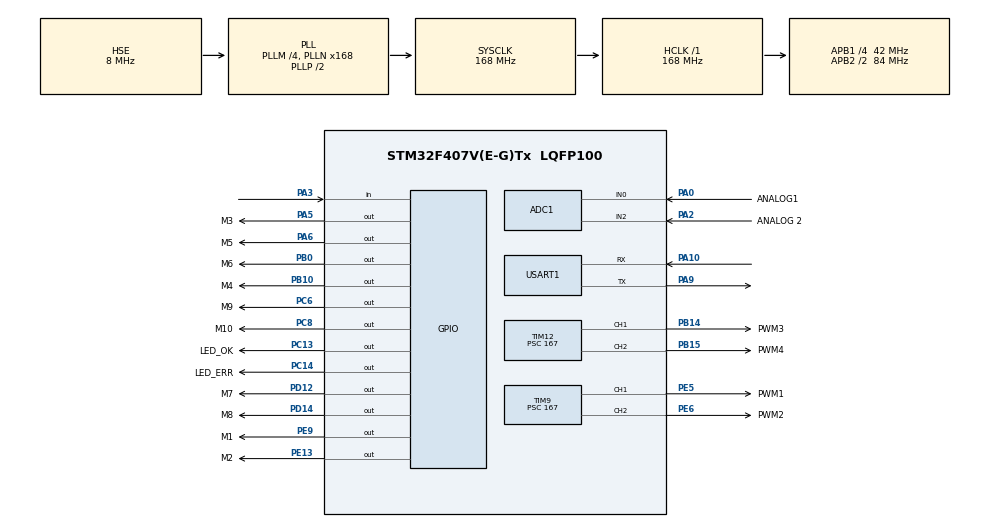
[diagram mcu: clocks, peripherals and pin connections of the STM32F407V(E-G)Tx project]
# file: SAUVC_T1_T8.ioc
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ADC1.Channel-0\#ChannelRegularConversion=ADC_CHANNEL_0
ADC1.Channel-1\#ChannelRegularConversion=ADC_CHANNEL_0
ADC1.DMAContinuousRequests=ENABLE
ADC1.InjNumberOfConversion=0
ADC1.NbrOfConversion=2
ADC1.NbrOfConversionFlag=1
ADC1.Rank-0\#ChannelRegularConversion=1
ADC1.Rank-1\#ChannelRegularConversion=2
ADC1.SamplingTime-0\#ChannelRegularConversion=ADC_SAMPLETIME_3CYCLES
ADC1.SamplingTime-1\#ChannelRegularConversion=ADC_SAMPLETIME_3CYCLES
ADC1.ScanConvMode=ENABLE
ADC1.master=1
Dma.ADC1.5.Direction=DMA_PERIPH_TO_MEMORY
Dma.ADC1.5.FIFOMode=DMA_FIFOMODE_DISABLE
Dma.ADC1.5.Instance=DMA2_Stream0
Dma.ADC1.5.MemDataAlignment=DMA_MDATAALIGN_HALFWORD
Dma.ADC1.5.MemInc=DMA_MINC_ENABLE
Dma.ADC1.5.Mode=DMA_NORMAL
Dma.ADC1.5.PeriphDataAlignment=DMA_PDATAALIGN_HALFWORD
Dma.ADC1.5.PeriphInc=DMA_PINC_DISABLE
Dma.ADC1.5.Priority=DMA_PRIORITY_MEDIUM
Dma.Request0=TIM1_UP
Dma.Request1=TIM1_CH4/TRIG/COM
Dma.Request2=TIM8_UP
Dma.Request3=TIM1_CH1
Dma.Request4=TIM1_CH3
Dma.Request5=ADC1
Dma.Request6=USART1_RX
Dma.Request7=USART1_TX
Dma.TIM1_CH1.3.Direction=DMA_PERIPH_TO_MEMORY
Dma.TIM1_CH1.3.FIFOMode=DMA_FIFOMODE_DISABLE
Dma.TIM1_CH1.3.Instance=DMA2_Stream3
Dma.TIM1_CH1.3.MemDataAlignment=DMA_MDATAALIGN_WORD
Dma.TIM1_CH1.3.MemInc=DMA_MINC_ENABLE
Dma.TIM1_CH1.3.Mode=DMA_NORMAL
Dma.TIM1_CH1.3.PeriphDataAlignment=DMA_PDATAALIGN_WORD
Dma.TIM1_CH1.3.PeriphInc=DMA_PINC_DISABLE
Dma.TIM1_CH1.3.Priority=DMA_PRIORITY_HIGH
Dma.TIM1_CH3.4.Direction=DMA_PERIPH_TO_MEMORY
Dma.TIM1_CH3.4.FIFOMode=DMA_FIFOMODE_DISABLE
Dma.TIM1_CH3.4.Instance=DMA2_Stream6
Dma.TIM1_CH3.4.MemDataAlignment=DMA_MDATAALIGN_WORD
Dma.TIM1_CH3.4.MemInc=DMA_MINC_ENABLE
Dma.TIM1_CH3.4.Mode=DMA_NORMAL
Dma.TIM1_CH3.4.PeriphDataAlignment=DMA_PDATAALIGN_WORD
Dma.TIM1_CH3.4.PeriphInc=DMA_PINC_DISABLE
Dma.TIM1_CH3.4.Priority=DMA_PRIORITY_HIGH
Dma.TIM1_CH4/TRIG/COM.1.Direction=DMA_PERIPH_TO_MEMORY
Dma.TIM1_CH4/TRIG/COM.1.FIFOMode=DMA_FIFOMODE_DISABLE
Dma.TIM1_CH4/TRIG/COM.1.Instance=DMA2_Stream4
Dma.TIM1_CH4/TRIG/COM.1.MemDataAlignment=DMA_MDATAALIGN_WORD
Dma.TIM1_CH4/TRIG/COM.1.MemInc=DMA_MINC_ENABLE
Dma.TIM1_CH4/TRIG/COM.1.Mode=DMA_NORMAL
Dma.TIM1_CH4/TRIG/COM.1.PeriphDataAlignment=DMA_PDATAALIGN_WORD
Dma.TIM1_CH4/TRIG/COM.1.PeriphInc=DMA_PINC_DISABLE
Dma.TIM1_CH4/TRIG/COM.1.Priority=DMA_PRIORITY_HIGH
Dma.TIM1_UP.0.Direction=DMA_PERIPH_TO_MEMORY
Dma.TIM1_UP.0.FIFOMode=DMA_FIFOMODE_DISABLE
Dma.TIM1_UP.0.Instance=DMA2_Stream5
Dma.TIM1_UP.0.MemDataAlignment=DMA_MDATAALIGN_WORD
Dma.TIM1_UP.0.MemInc=DMA_MINC_ENABLE
Dma.TIM1_UP.0.Mode=DMA_NORMAL
Dma.TIM1_UP.0.PeriphDataAlignment=DMA_PDATAALIGN_WORD
Dma.TIM1_UP.0.PeriphInc=DMA_PINC_DISABLE
Dma.TIM1_UP.0.Priority=DMA_PRIORITY_HIGH
Dma.TIM8_UP.2.Direction=DMA_PERIPH_TO_MEMORY
Dma.TIM8_UP.2.FIFOMode=DMA_FIFOMODE_DISABLE
Dma.TIM8_UP.2.Instance=DMA2_Stream1
Dma.TIM8_UP.2.MemDataAlignment=DMA_MDATAALIGN_WORD
Dma.TIM8_UP.2.MemInc=DMA_MINC_ENABLE
Dma.TIM8_UP.2.Mode=DMA_NORMAL
Dma.TIM8_UP.2.PeriphDataAlignment=DMA_PDATAALIGN_WORD
Dma.TIM8_UP.2.PeriphInc=DMA_PINC_DISABLE
Dma.TIM8_UP.2.Priority=DMA_PRIORITY_HIGH
Dma.USART1_RX.6.Direction=DMA_PERIPH_TO_MEMORY
Dma.USART1_RX.6.FIFOMode=DMA_FIFOMODE_DISABLE
Dma.USART1_RX.6.Instance=DMA2_Stream2
Dma.USART1_RX.6.MemDataAlignment=DMA_MDATAALIGN_BYTE
Dma.USART1_RX.6.MemInc=DMA_MINC_ENABLE
Dma.USART1_RX.6.Mode=DMA_CIRCULAR
Dma.USART1_RX.6.PeriphDataAlignment=DMA_PDATAALIGN_BYTE
Dma.USART1_RX.6.PeriphInc=DMA_PINC_DISABLE
Dma.USART1_RX.6.Priority=DMA_PRIORITY_LOW
Dma.USART1_TX.7.Direction=DMA_MEMORY_TO_PERIPH
Dma.USART1_TX.7.FIFOMode=DMA_FIFOMODE_DISABLE
Dma.USART1_TX.7.Instance=DMA2_Stream7
Dma.USART1_TX.7.MemDataAlignment=DMA_MDATAALIGN_BYTE
Dma.USART1_TX.7.MemInc=DMA_MINC_ENABLE
Dma.USART1_TX.7.Mode=DMA_NORMAL
Dma.USART1_TX.7.PeriphDataAlignment=DMA_PDATAALIGN_BYTE
Dma.USART1_TX.7.PeriphInc=DMA_PINC_DISABLE
Dma.USART1_TX.7.Priority=DMA_PRIORITY_LOW
Mcu.Family=STM32F4
Mcu.Name=STM32F407V(E-G)Tx
Mcu.Package=LQFP100
NVIC.ADC_IRQn=true\:0\:0\:false\:false\:true\:true\:true\:true
NVIC.DMA2_Stream0_IRQn=true\:0\:0\:false\:false\:true\:false\:true\:true
NVIC.DMA2_Stream1_IRQn=true\:0\:0\:false\:false\:true\:false\:true\:true
NVIC.DMA2_Stream2_IRQn=true\:0\:0\:false\:false\:true\:false\:true\:true
NVIC.DMA2_Stream3_IRQn=true\:0\:0\:false\:false\:true\:false\:true\:true
NVIC.DMA2_Stream4_IRQn=true\:0\:0\:false\:false\:true\:false\:true\:true
NVIC.DMA2_Stream5_IRQn=true\:0\:0\:false\:false\:true\:false\:true\:true
NVIC.DMA2_Stream6_IRQn=true\:0\:0\:false\:false\:true\:false\:true\:true
NVIC.DMA2_Stream7_IRQn=true\:0\:0\:false\:false\:true\:false\:true\:true
NVIC.PriorityGroup=NVIC_PRIORITYGROUP_4
NVIC.USART1_IRQn=true\:0\:0\:false\:false\:true\:true\:true\:true
PA0-WKUP.GPIO_Label=ANALOG1
PA0-WKUP.Signal=ADCx_IN0
PA10.Mode=Asynchronous
PA10.Signal=USART1_RX
PA13.Mode=Serial_Wire
PA13.Signal=SYS_JTMS-SWDIO
PA14.Mode=Serial_Wire
PA14.Signal=SYS_JTCK-SWCLK
PA2.GPIO_Label=ANALOG 2
PA2.Signal=ADCx_IN2
PA3.Signal=GPIO_Input
PA5.GPIO_Label=M3
PA5.GPIO_Speed=GPIO_SPEED_FREQ_VERY_HIGH
PA5.Signal=GPIO_Output
PA6.GPIO_Label=M5
PA6.GPIO_Speed=GPIO_SPEED_FREQ_VERY_HIGH
PA6.Signal=GPIO_Output
PA9.Mode=Asynchronous
PA9.Signal=USART1_TX
PB0.GPIO_Label=M6
PB0.GPIO_Speed=GPIO_SPEED_FREQ_VERY_HIGH
PB0.Signal=GPIO_Output
PB10.GPIO_Label=M4
PB10.GPIO_Speed=GPIO_SPEED_FREQ_VERY_HIGH
PB10.Signal=GPIO_Output
PB14.GPIO_Label=PWM3
PB14.Signal=S_TIM12_CH1
PB15.GPIO_Label=PWM4
PB15.Signal=S_TIM12_CH2
PC13-ANTI_TAMP.GPIO_Label=LED_OK
PC13-ANTI_TAMP.Signal=GPIO_Output
PC14-OSC32_IN.GPIO_Label=LED_ERR
PC14-OSC32_IN.Signal=GPIO_Output
PC6.GPIO_Label=M9
PC6.GPIO_Speed=GPIO_SPEED_FREQ_VERY_HIGH
PC6.Signal=GPIO_Output
PC8.GPIO_Label=M10
PC8.GPIO_Speed=GPIO_SPEED_FREQ_VERY_HIGH
PC8.Signal=GPIO_Output
PD12.GPIO_Label=M7
PD12.GPIO_Speed=GPIO_SPEED_FREQ_VERY_HIGH
PD12.Signal=GPIO_Output
PD14.GPIO_Label=M8
PD14.GPIO_Speed=GPIO_SPEED_FREQ_VERY_HIGH
PD14.Signal=GPIO_Output
PD5.Signal=USART2_TX
PD6.Signal=USART2_RX
PE13.GPIO_Label=M2
PE13.GPIO_Speed=GPIO_SPEED_FREQ_VERY_HIGH
PE13.Signal=GPIO_Output
PE5.GPIO_Label=PWM1
PE5.Signal=S_TIM9_CH1
PE6.GPIO_Label=PWM2
PE6.Signal=S_TIM9_CH2
PE9.GPIO_Label=M1
PE9.GPIO_Speed=GPIO_SPEED_FREQ_VERY_HIGH
PE9.Signal=GPIO_Output
PH0-OSC_IN.Mode=HSE-External-Oscillator
PH0-OSC_IN.Signal=RCC_OSC_IN
PH1-OSC_OUT.Mode=HSE-External-Oscillator
PH1-OSC_OUT.Signal=RCC_OSC_OUT
ProjectManager.HeapSize=0x200
ProjectManager.StackSize=0x400
ProjectManager.TargetToolchain=STM32CubeIDE
RCC.48MHZClocksFreq_Value=84000000
RCC.AHBFreq_Value=168000000
RCC.APB1CLKDivider=RCC_HCLK_DIV4
RCC.APB1Freq_Value=42000000
RCC.APB1TimFreq_Value=84000000
RCC.APB2CLKDivider=RCC_HCLK_DIV2
RCC.APB2Freq_Value=84000000
RCC.APB2TimFreq_Value=168000000
RCC.CortexFreq_Value=168000000
RCC.HCLKFreq_Value=168000000
RCC.HSE_VALUE=8000000
RCC.HSI_VALUE=16000000
RCC.LSE_VALUE=32768
RCC.PLLM=4
RCC.PLLN=168
RCC.PLLSourceVirtual=RCC_PLLSOURCE_HSE
RCC.SYSCLKFreq_VALUE=168000000
RCC.SYSCLKSource=RCC_SYSCLKSOURCE_PLLCLK
RCC.VCOOutputFreq_Value=336000000
SH.ADCx_IN0.0=ADC1_IN0,IN0
SH.ADCx_IN2.0=ADC1_IN2,IN2
SH.S_TIM12_CH1.0=TIM12_CH1,PWM Generation1 CH1
SH.S_TIM12_CH2.0=TIM12_CH2,PWM Generation2 CH2
SH.S_TIM9_CH1.0=TIM9_CH1,PWM Generation1 CH1
SH.S_TIM9_CH2.0=TIM9_CH2,PWM Generation2 CH2
TIM1.Channel-PWM\ Generation1\ No\ Output=TIM_CHANNEL_1
TIM1.Channel-PWM\ Generation3\ No\ Output=TIM_CHANNEL_3
TIM1.Period=34
TIM12.Channel-PWM\ Generation1\ CH1=TIM_CHANNEL_1
TIM12.Channel-PWM\ Generation2\ CH2=TIM_CHANNEL_2
TIM12.Period=4999
TIM12.Prescaler=167
TIM8.Period=34
TIM9.Channel-PWM\ Generation1\ CH1=TIM_CHANNEL_1
TIM9.Channel-PWM\ Generation2\ CH2=TIM_CHANNEL_2
TIM9.Period=19999
TIM9.Prescaler=167
USART1.VirtualMode=VM_ASYNC
VP_TIM1_VS_ClockSourceINT.Mode=Internal
VP_TIM1_VS_no_output1.Mode=PWM Generation1 No Output
VP_TIM1_VS_no_output3.Mode=PWM Generation3 No Output
VP_TIM8_VS_ClockSourceINT.Mode=Internal
VP_TIM9_VS_ClockSourceINT.Mode=Internal
board=custom

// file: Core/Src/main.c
/* USER CODE BEGIN Header */
/**
  ******************************************************************************
  * @file           : main.c
  * @brief          : Main program body
  ******************************************************************************
  * @attention
  *
  * Copyright (c) 2025 STMicroelectronics.
  * All rights reserved.
  *
  * This software is licensed under terms that can be found in the LICENSE file
  * in the root directory of this software component.
  * If no LICENSE file comes with this software, it is provided AS-IS.
  *
  ******************************************************************************
  */
/* USER CODE END Header */
#include "main.h"
#include "adc.h"
#include "dma.h"
#include "tim.h"
#include "usart.h"
#include "gpio.h"

/* USER CODE BEGIN Includes */
#include "dshot.h"
#include <string.h>
#include <stdio.h>
#include "pwm.h"
#include "dshot_A.h"
#include "byteProtocol.h"
#include "byteProtocol_tx.h"

/* USER CODE END Includes */

/* USER CODE BEGIN PV */

extern UART_HandleTypeDef huart2;
extern UART_HandleTypeDef huart1;

volatile bool uart_tx_ready = true;

float value = 0.0;
uint16_t pwm_targets[4] = {1500, 1500, 1500, 1500};
volatile float pid_target_speed_rpms[MOTORS_COUNT] = {0};

uint8_t pinState = 0;
uint16_t adc_buffer[2];
volatile bool battery_data_ready = false;
uint16_t bat1 = 0;
uint16_t bat2 = 0;
BatteryData_t battery_data;

/* USER CODE END PV */

void SystemClock_Config(void);

/* USER CODE BEGIN 0 */

void adc_start(void) {

    HAL_ADC_Start_DMA(&hadc1, (uint32_t*)adc_buffer, 2);
}

void ByteProtocol_DShotUpdateInt(uint8_t motor_idx, int32_t rpm) {
    if (motor_idx < MOTORS_COUNT) {
    	pid_target_speed_rpms[motor_idx] = (float)rpm;

    }
}

void ByteProtocol_PWMUpdate(uint8_t pwm_idx, uint16_t pulse_us) {
    if (pwm_idx < 4) {
    	pwm_targets[pwm_idx] = pulse_us;
    }
}

void quick_battery_read(void){
	bat1 = adc_buffer[0];
	bat2 = adc_buffer[1];
}

void send_battery_data(void) {

    battery_data.vbat1_adc = bat1;
    battery_data.vbat2_adc = bat2;

    ByteProtocol_TX_SendBatteryData(&battery_data);
}

void calibration(void){

    for (int i = 0; i < MOTORS_COUNT; i++) {
        pid_target_speed_rpms[i] = value;
    }

      for (int i = 0; i < MOTORS_COUNT; i++) {
           motor_values[i] = prepare_Dshot_package(0, false);
       }

  uint32_t calibration_start_time = HAL_GetTick();
  while (HAL_GetTick() - calibration_start_time < 2000) {
      update_motors_Tx_Only();

     for (volatile int i = 0; i < 100; i++);

  }

  for (int i = 0; i < MOTORS_COUNT; i++) {
	  motor_values[i] = prepare_Dshot_package(10, false);
     }

   for (int t = 0; t < 6; t++){
   update_motors_Tx_Only();

   }

   for (int i = 0; i < MOTORS_COUNT; i++) {
   	  motor_values[i] = prepare_Dshot_package(12, false);
        }

   for (int t = 0; t < 6; t++){

   update_motors_Tx_Only();

   }

   HAL_Delay(40);

}
/* USER CODE END 0 */

int main(void)
{

  /* MCU Configuration--------------------------------------------------------*/

  /* Reset of all peripherals, Initializes the Flash interface and the Systick. */
  HAL_Init();

  /* Configure the system clock */
  SystemClock_Config();

  /* Initialize all configured peripherals */
  MX_GPIO_Init();
  MX_DMA_Init();
  MX_TIM1_Init();
  MX_TIM8_Init();
  MX_TIM9_Init();
  MX_TIM12_Init();
  MX_ADC1_Init();
  MX_USART1_UART_Init();
  /* USER CODE BEGIN 2 */
  PWM_Init();
  adc_start();

  ByteProtocol_TX_Init();
  ByteProtocol_Init();

  setup_Dshot_Tx_Only();
  preset_bb_Dshot_buffers();
  pid_reset_all();
  calibration();

  uint32_t last_50hz_time = 0;
  uint32_t last_100hz_time = 0;
  uint32_t last_battery_tx_time = 0;
  uint32_t now2 = HAL_GetTick();

  uint16_t count = 0;
  uint16_t err = 0;

  GPIOC->MODER |= GPIO_MODER_MODER13_0;
  GPIOC->MODER |= GPIO_MODER_MODER14_0;

  /* USER CODE END 2 */

  /* Infinite loop */
  /* USER CODE BEGIN WHILE */
  while (1)
  {
	  battery_data.killswitch_state =  (GPIOA->IDR & GPIO_PIN_3) ? true : false;

	  if(pinState == 0 && battery_data.killswitch_state ==1 ){
		 HAL_Delay(200);
		 calibration();
		 pinState = battery_data.killswitch_state;
	  }

	if(battery_data_ready){

         quick_battery_read();
         battery_data_ready = false;

	  }

	  if (telemetry_done_flag) {

         process_telemetry_with_new_method();

	      for (int m = 0; m < MOTORS_COUNT; m++) {

	          uint32_t current_rpm = 0;
	          float target_rpm = pid_target_speed_rpms[m];

	          if (motor_telemetry_data[m].valid_rpm) {
	              current_rpm = motor_telemetry_data[m].raw_rpm_value;
	              } else {
	              current_rpm = 0;
	          }

	          float dt = 0.005f;
	          uint16_t new_command = pid_calculate_command(m, current_rpm, target_rpm,dt);

	          motor_values[m] = prepare_Dshot_package(new_command, true);
	      }

	      update_motors_Tx_Only();
	      GPIOC->ODR |= GPIO_ODR_OD13;
	      GPIOC->ODR &= ~GPIO_ODR_OD14;

               err=0;
	      }else{

		  if(err>1000){
	           GPIOC->ODR &= ~GPIO_ODR_OD13;
	           GPIOC->ODR |= GPIO_ODR_OD14;

	        }
		  err++;
	  }

 now2 = HAL_GetTick();

	if (now2 - last_50hz_time >= 20) {
	  	  if(count==0){

	  	    PWM_SetDuty(&htim9, TIM_CHANNEL_1, 1000); // PE5
	  	    PWM_SetDuty(&htim9, TIM_CHANNEL_2, 1000); // PE6
	  	    count++;

	  	     }else{
	  	    	    PWM_SetDuty(&htim9, TIM_CHANNEL_1, pwm_targets[0]); // PE5
	  	    	    PWM_SetDuty(&htim9, TIM_CHANNEL_2, pwm_targets[1]); // PE6
	  	    	  }

	  	    	  last_50hz_time = now2;
	 }

	  if (now2 - last_100hz_time >= 10) {

	  	    PWM_SetDuty(&htim12, TIM_CHANNEL_1, pwm_targets[2]); // PB14
	  	    PWM_SetDuty(&htim12, TIM_CHANNEL_2, pwm_targets[3]); // PB15
	  	    last_100hz_time = now2;

	  	   }

	  if (now2 - last_battery_tx_time >= 100) {
	  	     send_battery_data();
	  	      last_battery_tx_time = now2;
	  	       }

    /* USER CODE END WHILE */

  }
}

void SystemClock_Config(void)
{
  RCC_OscInitTypeDef RCC_OscInitStruct = {0};
  RCC_ClkInitTypeDef RCC_ClkInitStruct = {0};

  /** Configure the main internal regulator output voltage
  */
  __HAL_RCC_PWR_CLK_ENABLE();
  __HAL_PWR_VOLTAGESCALING_CONFIG(PWR_REGULATOR_VOLTAGE_SCALE1);

  /** Initializes the RCC Oscillators according to the specified parameters
  * in the RCC_OscInitTypeDef structure.
  */
  RCC_OscInitStruct.OscillatorType = RCC_OSCILLATORTYPE_HSE;
  RCC_OscInitStruct.HSEState = RCC_HSE_ON;
  RCC_OscInitStruct.PLL.PLLState = RCC_PLL_ON;
  RCC_OscInitStruct.PLL.PLLSource = RCC_PLLSOURCE_HSE;
  RCC_OscInitStruct.PLL.PLLM = 4;
  RCC_OscInitStruct.PLL.PLLN = 168;
  RCC_OscInitStruct.PLL.PLLP = RCC_PLLP_DIV2;
  RCC_OscInitStruct.PLL.PLLQ = 4;
  if (HAL_RCC_OscConfig(&RCC_OscInitStruct) != HAL_OK)
  {
    Error_Handler();
  }

  /** Initializes the CPU, AHB and APB buses clocks
  */
  RCC_ClkInitStruct.ClockType = RCC_CLOCKTYPE_HCLK|RCC_CLOCKTYPE_SYSCLK
                              |RCC_CLOCKTYPE_PCLK1|RCC_CLOCKTYPE_PCLK2;
  RCC_ClkInitStruct.SYSCLKSource = RCC_SYSCLKSOURCE_PLLCLK;
  RCC_ClkInitStruct.AHBCLKDivider = RCC_SYSCLK_DIV1;
  RCC_ClkInitStruct.APB1CLKDivider = RCC_HCLK_DIV4;
  RCC_ClkInitStruct.APB2CLKDivider = RCC_HCLK_DIV2;

  if (HAL_RCC_ClockConfig(&RCC_ClkInitStruct, FLASH_LATENCY_5) != HAL_OK)
  {
    Error_Handler();
  }
}

/* USER CODE BEGIN 4 */

void HAL_ADC_ConvCpltCallback(ADC_HandleTypeDef* hadc) {
    if (hadc->Instance == ADC1) {
         battery_data_ready = true;
    }
}

/* USER CODE END 4 */

void Error_Handler(void)
{
  __disable_irq();
  while (1)
  {
  }
}
